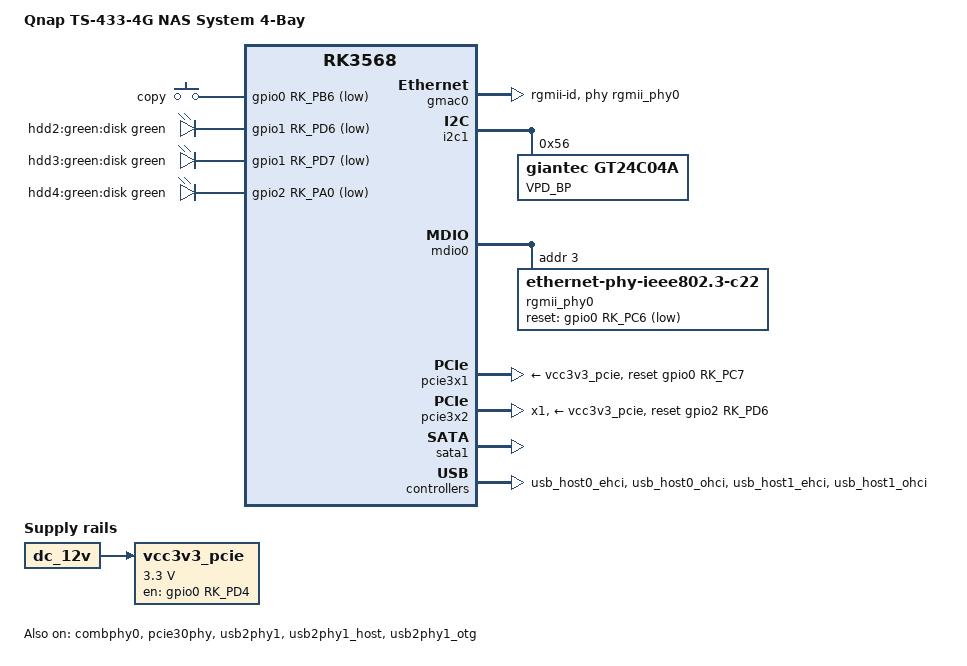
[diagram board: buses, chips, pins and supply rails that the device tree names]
// SPDX-License-Identifier: (GPL-2.0+ OR MIT)
/*
 * Copyright (c) 2021 Rockchip Electronics Co., Ltd.
 * Copyright (c) 2024 Uwe Kleine-König
 */

/dts-v1/;

#include "rk3568.dtsi"
#include "rk3568-qnap-tsx33.dtsi"

/ {
	model = "Qnap TS-433-4G NAS System 4-Bay";
	compatible = "qnap,ts433", "rockchip,rk3568";

	aliases {
		ethernet0 = &gmac0;
	};

	vcc3v3_pcie: regulator-vcc3v3-pcie {
		compatible = "regulator-fixed";
		regulator-name = "vcc3v3_pcie";
		regulator-min-microvolt = <3300000>;
		regulator-max-microvolt = <3300000>;
		enable-active-high;
		gpios = <&gpio0 RK_PD4 GPIO_ACTIVE_HIGH>;
		vin-supply = <&dc_12v>;
	};
};

/* Connected to usb_host0_xhci */
&combphy0 {
	status = "okay";
};

&gmac0 {
	assigned-clocks = <&cru SCLK_GMAC0_RX_TX>, <&cru SCLK_GMAC0>;
	assigned-clock-parents = <&cru SCLK_GMAC0_RGMII_SPEED>, <&cru CLK_MAC0_2TOP>;
	assigned-clock-rates = <0>, <125000000>;
	clock_in_out = "output";
	phy-handle = <&rgmii_phy0>;
	phy-mode = "rgmii-id";
	pinctrl-names = "default";
	pinctrl-0 = <&gmac0_miim
		     &gmac0_tx_bus2
		     &gmac0_rx_bus2
		     &gmac0_rgmii_clk
		     &gmac0_rgmii_bus>;
	status = "okay";
};

&i2c1 {
	/* eeprom for vital-product-data on the backplane */
	eeprom@56 {
		compatible = "giantec,gt24c04a", "atmel,24c04";
		reg = <0x56>;
		label = "VPD_BP";
		num-addresses = <2>;
		pagesize = <16>;
		read-only;
	};
};

&keys {
		pinctrl-names = "default";
		pinctrl-0 = <&copy_button_pin>, <&reset_button_pin>;

		key-copy {
			label = "copy";
			gpios = <&gpio0 RK_PB6 GPIO_ACTIVE_LOW>;
			linux,code = <KEY_COPY>;
		};
};

&leds {
	led-1 {
		color = <LED_COLOR_ID_GREEN>;
		function = LED_FUNCTION_DISK;
		gpios = <&gpio1 RK_PD6 GPIO_ACTIVE_LOW>;
		label = "hdd2:green:disk";
		linux,default-trigger = "disk-activity";
		pinctrl-names = "default";
		pinctrl-0 = <&hdd2_led_pin>;
	};

	led-2 {
		color = <LED_COLOR_ID_GREEN>;
		function = LED_FUNCTION_DISK;
		gpios = <&gpio1 RK_PD7 GPIO_ACTIVE_LOW>;
		label = "hdd3:green:disk";
		linux,default-trigger = "disk-activity";
		pinctrl-names = "default";
		pinctrl-0 = <&hdd3_led_pin>;
	};

	led-3 {
		color = <LED_COLOR_ID_GREEN>;
		function = LED_FUNCTION_DISK;
		gpios = <&gpio2 RK_PA0 GPIO_ACTIVE_LOW>;
		label = "hdd4:green:disk";
		linux,default-trigger = "disk-activity";
		pinctrl-names = "default";
		pinctrl-0 = <&hdd4_led_pin>;
	};
};

&mcu {
	compatible = "qnap,ts433-mcu";
};

&mdio0 {
	rgmii_phy0: ethernet-phy@3 {
		/* Motorcomm YT8521 phy */
		compatible = "ethernet-phy-ieee802.3-c22";
		reg = <0x3>;
		pinctrl-0 = <&eth_phy0_reset_pin>;
		pinctrl-names = "default";
		reset-assert-us = <10000>;
		reset-gpios = <&gpio0 RK_PC6 GPIO_ACTIVE_LOW>;
	};
};

&pcie30phy {
	data-lanes = <1 2>;
	status = "okay";
};

/* Connected to a JMicron AHCI SATA controller */
&pcie3x1 {
	reset-gpios = <&gpio0 RK_PC7 GPIO_ACTIVE_HIGH>;
	vpcie3v3-supply = <&vcc3v3_pcie>;
	status = "okay";
};

/* Connected to the 2.5G NIC for the upper network jack */
&pcie3x2 {
	num-lanes = <1>;
	reset-gpios = <&gpio2 RK_PD6 GPIO_ACTIVE_HIGH>;
	vpcie3v3-supply = <&vcc3v3_pcie>;
	status = "okay";
};

&pinctrl {
	gmac0 {
		eth_phy0_reset_pin: eth-phy0-reset-pin {
			rockchip,pins = <0 RK_PC6 RK_FUNC_GPIO &pcfg_pull_up>;
		};
	};

	leds {
		hdd2_led_pin: hdd2-led-pin {
			rockchip,pins = <1 RK_PD6 RK_FUNC_GPIO &pcfg_pull_up>;
		};

		hdd3_led_pin: hdd3-led-pin {
			rockchip,pins = <1 RK_PD7 RK_FUNC_GPIO &pcfg_pull_up>;
		};

		hdd4_led_pin: hdd4_led-pin {
			rockchip,pins = <2 RK_PA0 RK_FUNC_GPIO &pcfg_pull_up>;
		};
	};
};

&sata1 {
	status = "okay";
};

&usb2phy1 {
	status = "okay";
};

/* connected to usb_host1_ehci/ohci */
&usb2phy1_host {
	phy-supply = <&vcc5v0_host>;
	status = "okay";
};

/* connected to usb_host0_ehci/ohci */
&usb2phy1_otg {
	phy-supply = <&vcc5v0_host>;
	status = "okay";
};

/* right port backside */
&usb_host0_ehci {
	status = "okay";
};

&usb_host0_ohci {
	status = "okay";
};

/* left port backside */
&usb_host1_ehci {
	status = "okay";
};

&usb_host1_ohci {
	status = "okay";
};
